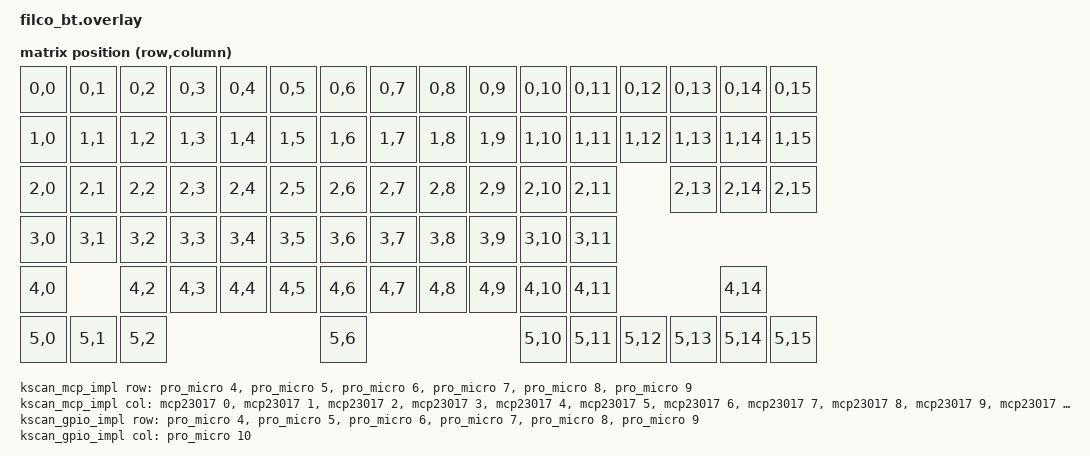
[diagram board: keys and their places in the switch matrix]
#include <dt-bindings/zmk/matrix_transform.h>

/ {
    chosen {
        zmk,kscan = &kscan0;
        zmk,matrix_transform = &default_transform;
        zmk,battery = &vbatt;
    };

    default_transform: keymap_transform_0 {
        compatible = "zmk,matrix-transform";
        columns = <17>;
        rows = <6>;
        // Mapping ma trận TKL tiêu chuẩn (điều chỉnh nếu sai lệch vị trí)
        map = <
RC(0,0) RC(0,1) RC(0,2) RC(0,3) RC(0,4) RC(0,5) RC(0,6) RC(0,7) RC(0,8) RC(0,9) RC(0,10) RC(0,11) RC(0,12)    RC(0,13) RC(0,14) RC(0,15)
RC(1,0) RC(1,1) RC(1,2) RC(1,3) RC(1,4) RC(1,5) RC(1,6) RC(1,7) RC(1,8) RC(1,9) RC(1,10) RC(1,11) RC(1,12)    RC(1,13) RC(1,14) RC(1,15)
RC(2,0) RC(2,1) RC(2,2) RC(2,3) RC(2,4) RC(2,5) RC(2,6) RC(2,7) RC(2,8) RC(2,9) RC(2,10) RC(2,11)             RC(2,13) RC(2,14) RC(2,15)
RC(3,0) RC(3,1) RC(3,2) RC(3,3) RC(3,4) RC(3,5) RC(3,6) RC(3,7) RC(3,8) RC(3,9) RC(3,10) RC(3,11)
RC(4,0)         RC(4,2) RC(4,3) RC(4,4) RC(4,5) RC(4,6) RC(4,7) RC(4,8) RC(4,9) RC(4,10) RC(4,11)                      RC(4,14)
RC(5,0) RC(5,1) RC(5,2)                         RC(5,6)                         RC(5,10) RC(5,11) RC(5,12)    RC(5,13) RC(5,14) RC(5,15)
        >;
    };

    // Composite kscan: Kết hợp MCP23017 và GPIO trực tiếp
    kscan0: kscan_composite {
        compatible = "zmk,kscan-composite";
        label = "KSCAN_COMPOSITE";
        rows = <6>;
        columns = <17>;

        // Phần 1: Các cột trên MCP23017 (Col 0-15)
        mcp_kscan: kscan_mcp {
            kscan = <&kscan_mcp_impl>;
        };
        
        // Phần 2: Cột 16 trên GPIO trực tiếp
        gpio_kscan: kscan_gpio {
            kscan = <&kscan_gpio_impl>;
            column-offset = <16>; // Bắt đầu từ cột 16
        };
    };

    kscan_mcp_impl: kscan_mcp_impl {
        compatible = "zmk,kscan-gpio-matrix";
        label = "KSCAN_MCP_IMPL";
        diode-direction = "col2row";
        
        // Rows nối vào NRF (D4, D5, D6, D7, D8, D9)
        row-gpios
            = <&pro_micro 4 (GPIO_ACTIVE_HIGH | GPIO_PULL_DOWN)>
            , <&pro_micro 5 (GPIO_ACTIVE_HIGH | GPIO_PULL_DOWN)>
            , <&pro_micro 6 (GPIO_ACTIVE_HIGH | GPIO_PULL_DOWN)>
            , <&pro_micro 7 (GPIO_ACTIVE_HIGH | GPIO_PULL_DOWN)>
            , <&pro_micro 8 (GPIO_ACTIVE_HIGH | GPIO_PULL_DOWN)>
            , <&pro_micro 9 (GPIO_ACTIVE_HIGH | GPIO_PULL_DOWN)>
            ;

        // Columns nối vào MCP23017 (0-15)
        col-gpios
            = <&mcp23017 0 GPIO_ACTIVE_HIGH>
            , <&mcp23017 1 GPIO_ACTIVE_HIGH>
            , <&mcp23017 2 GPIO_ACTIVE_HIGH>
            , <&mcp23017 3 GPIO_ACTIVE_HIGH>
            , <&mcp23017 4 GPIO_ACTIVE_HIGH>
            , <&mcp23017 5 GPIO_ACTIVE_HIGH>
            , <&mcp23017 6 GPIO_ACTIVE_HIGH>
            , <&mcp23017 7 GPIO_ACTIVE_HIGH>
            , <&mcp23017 8 GPIO_ACTIVE_HIGH>
            , <&mcp23017 9 GPIO_ACTIVE_HIGH>
            , <&mcp23017 10 GPIO_ACTIVE_HIGH>
            , <&mcp23017 11 GPIO_ACTIVE_HIGH>
            , <&mcp23017 12 GPIO_ACTIVE_HIGH>
            , <&mcp23017 13 GPIO_ACTIVE_HIGH>
            , <&mcp23017 14 GPIO_ACTIVE_HIGH>
            , <&mcp23017 15 GPIO_ACTIVE_HIGH>
            ;
    };

    kscan_gpio_impl: kscan_gpio_impl {
        compatible = "zmk,kscan-gpio-matrix";
        label = "KSCAN_GPIO_IMPL";
        diode-direction = "col2row";
        
        // Rows lặp lại giống trên (Shared rows)
        row-gpios
            = <&pro_micro 4 (GPIO_ACTIVE_HIGH | GPIO_PULL_DOWN)>
            , <&pro_micro 5 (GPIO_ACTIVE_HIGH | GPIO_PULL_DOWN)>
            , <&pro_micro 6 (GPIO_ACTIVE_HIGH | GPIO_PULL_DOWN)>
            , <&pro_micro 7 (GPIO_ACTIVE_HIGH | GPIO_PULL_DOWN)>
            , <&pro_micro 8 (GPIO_ACTIVE_HIGH | GPIO_PULL_DOWN)>
            , <&pro_micro 9 (GPIO_ACTIVE_HIGH | GPIO_PULL_DOWN)>
            ;

        // Chỉ có cột 16 nối vào NRF (D10)
        col-gpios
            = <&pro_micro 10 GPIO_ACTIVE_HIGH>;
    };

    // Định nghĩa LED
    leds {
        compatible = "gpio-leds";
        caps_led: led_0 {
            gpios = <&pro_micro 0 GPIO_ACTIVE_HIGH>; // D0 (Caps)
            label = "Caps Lock LED";
        };
        scroll_led: led_1 {
            gpios = <&pro_micro 1 GPIO_ACTIVE_HIGH>; // D1 (Scroll/Battery)
            label = "Scroll Lock LED";
        };
    };

    // Đọc pin (Cần thiết để báo pin)
    vbatt: vbatt {
        compatible = "zmk,battery-voltage-divider";
        label = "BATTERY";
        io-channels = <&adc 31>; // P0.31 thường là pin đo áp trên Nice!Nano
        output-ohms = <2000000>;
        full-ohms = <(2000000 + 806000)>;
    };
};

// Cấu hình I2C cho MCP23017
&pro_micro_i2c {
    status = "okay";
    clock-frequency = <I2C_BITRATE_FAST>; // 400kHz

    mcp23017: mcp23017@20 {
        compatible = "microchip,mcp230xx";
        reg = <0x20>;
        gpio-controller;
        #gpio-cells = <2>;
        ngpios = <16>;
    };
};

// Macro ngắn gọn
#define RC(r,c) RC((r * 17 + c))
